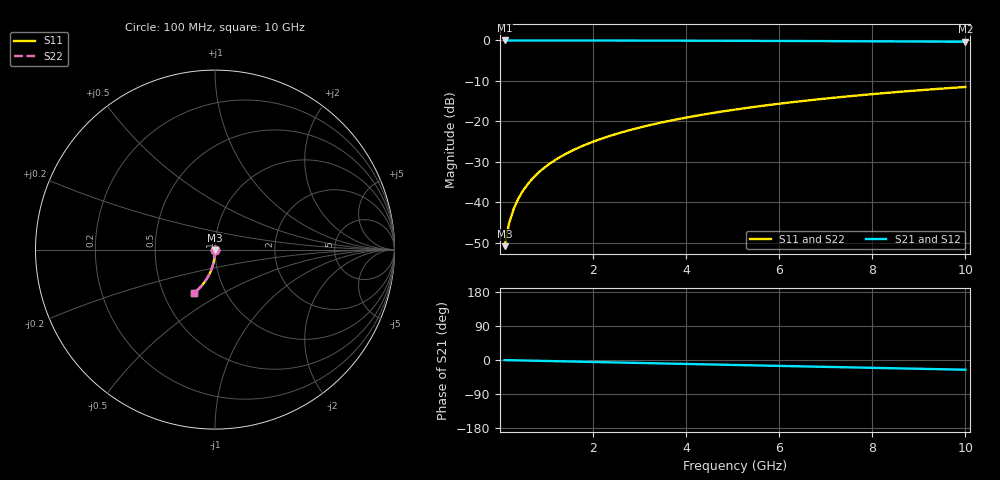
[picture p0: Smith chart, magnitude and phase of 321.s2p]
# Hz S RI R 50.00
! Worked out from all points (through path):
!   100 points, 100 MHz to 10 GHz, reference 50 ohm
!   highest |S21| = -0.01 dB at 100 MHz (marker M1); lowest = -0.3 dB at 10 GHz (marker M2)
!   group delay of S21, straight-line fit = 7.13 ps
!   lowest |S11| = -50.9 dB at 100 MHz (marker M3), VSWR 1.01, Z = 50.1 - j0.281 ohm
!   |S11| at or under -10 dB: start of sweep to end of sweep
!   |S22| runs from -50.9 to -11.5 dB; largest |S21 - S12| = 0
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1e8  0.000574 -0.0028  0.9994 -0.00455  0.9994 -0.00455  0.000574 -0.0028
2e8  0.000536 -0.00561  0.9993 -0.00911  0.9993 -0.00911  0.000536 -0.00561
3e8  0.000471 -0.00841  0.9993 -0.0137  0.9993 -0.0137  0.000471 -0.00841
4e8  0.000381 -0.0112  0.9992 -0.0182  0.9992 -0.0182  0.000381 -0.0112
5e8  0.000265 -0.014  0.999 -0.0228  0.999 -0.0228  0.000265 -0.014
6e8  0.000122 -0.0168  0.9989 -0.0273  0.9989 -0.0273  0.000122 -0.0168
7e8  -4.52e-05 -0.0196  0.9987 -0.0319  0.9987 -0.0319  -4.52e-05 -0.0196
8e8  -0.000238 -0.0224  0.9984 -0.0364  0.9984 -0.0364  -0.000238 -0.0224
9e8  -0.000457 -0.0252  0.9982 -0.041  0.9982 -0.041  -0.000457 -0.0252
1.1e9  -0.000971 -0.0308  0.9976 -0.05  0.9976 -0.05  -0.000971 -0.0308
1.4e9  -0.00193 -0.0391  0.9965 -0.0636  0.9965 -0.0636  -0.00193 -0.0391
1.8e9  -0.00357 -0.0502  0.9947 -0.0817  0.9947 -0.0817  -0.00357 -0.0502
2.1e9  -0.00506 -0.0585  0.993 -0.0953  0.993 -0.0953  -0.00506 -0.0585
2.5e9  -0.0074 -0.0694  0.9904 -0.1132  0.9904 -0.1132  -0.0074 -0.0694
2.9e9  -0.0101 -0.0803  0.9873 -0.1311  0.9873 -0.1311  -0.0101 -0.0803
3.4e9  -0.0141 -0.0936  0.9829 -0.1532  0.9829 -0.1532  -0.0141 -0.0936
4.2e9  -0.0216 -0.1146  0.9744 -0.1883  0.9744 -0.1883  -0.0216 -0.1146
5.1e9  -0.0319 -0.1374  0.9628 -0.2269  0.9628 -0.2269  -0.0319 -0.1374
5.9e9  -0.0425 -0.1567  0.9508 -0.2604  0.9508 -0.2604  -0.0425 -0.1567
6.7e9  -0.0543 -0.1752  0.9374 -0.293  0.9374 -0.293  -0.0543 -0.1752
8.4e9  -0.0834 -0.2111  0.9043 -0.359  0.9043 -0.359  -0.0834 -0.2111
1e10  -0.1148 -0.24  0.8681 -0.4165  0.8681 -0.4165  -0.1148 -0.24
